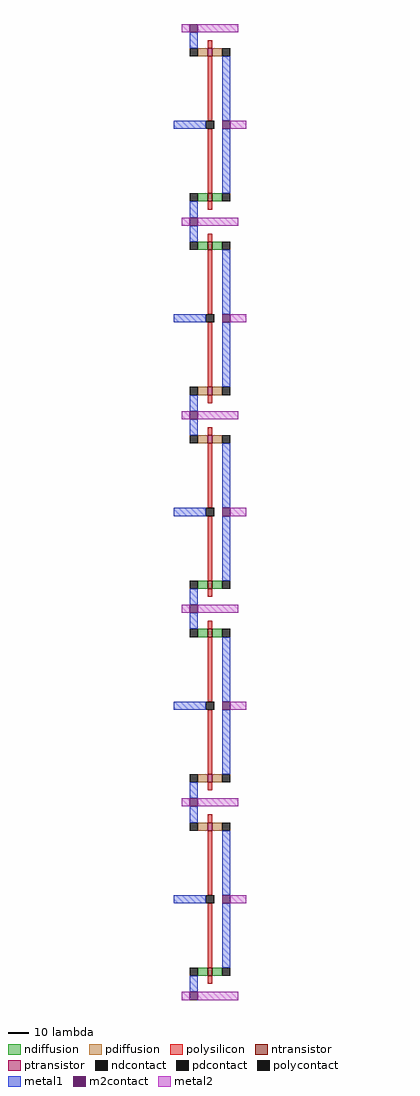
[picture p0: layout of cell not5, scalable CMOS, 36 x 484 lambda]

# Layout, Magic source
magic
tech scmos
use not  not_4
transform 1 0 -4 0 1 -332
box 4 -52 36 48
use not  not_3
transform 1 0 -4 0 -1 -240
box 4 -52 36 48
use not  not_2
transform 1 0 -4 0 1 -140
box 4 -52 36 48
use not  not_1
transform 1 0 -4 0 -1 -48
box 4 -52 36 48
use not  not_0
transform 1 0 -4 0 1 52
box 4 -52 36 48
<< end >>

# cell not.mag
magic
tech scmos
<< polysilicon >>
rect 21 36 23 40
rect 21 0 23 32
rect 21 -36 23 -4
rect 21 -44 23 -40
<< ndiffusion >>
rect 16 -40 21 -36
rect 23 -40 28 -36
<< pdiffusion >>
rect 16 32 21 36
rect 23 32 28 36
<< metal1 >>
rect 12 36 16 44
rect 28 0 32 32
rect 4 -4 20 0
rect 28 -36 32 -4
rect 12 -48 16 -40
<< metal2 >>
rect 8 44 12 48
rect 16 44 36 48
rect 32 -4 40 0
rect 8 -52 12 -48
rect 16 -52 36 -48
<< ntransistor >>
rect 21 -40 23 -36
<< ptransistor >>
rect 21 32 23 36
<< polycontact >>
rect 20 -4 24 0
<< ndcontact >>
rect 12 -40 16 -36
rect 28 -40 32 -36
<< pdcontact >>
rect 12 32 16 36
rect 28 32 32 36
<< m2contact >>
rect 12 44 16 48
rect 28 -4 32 0
rect 12 -52 16 -48
<< end >>
